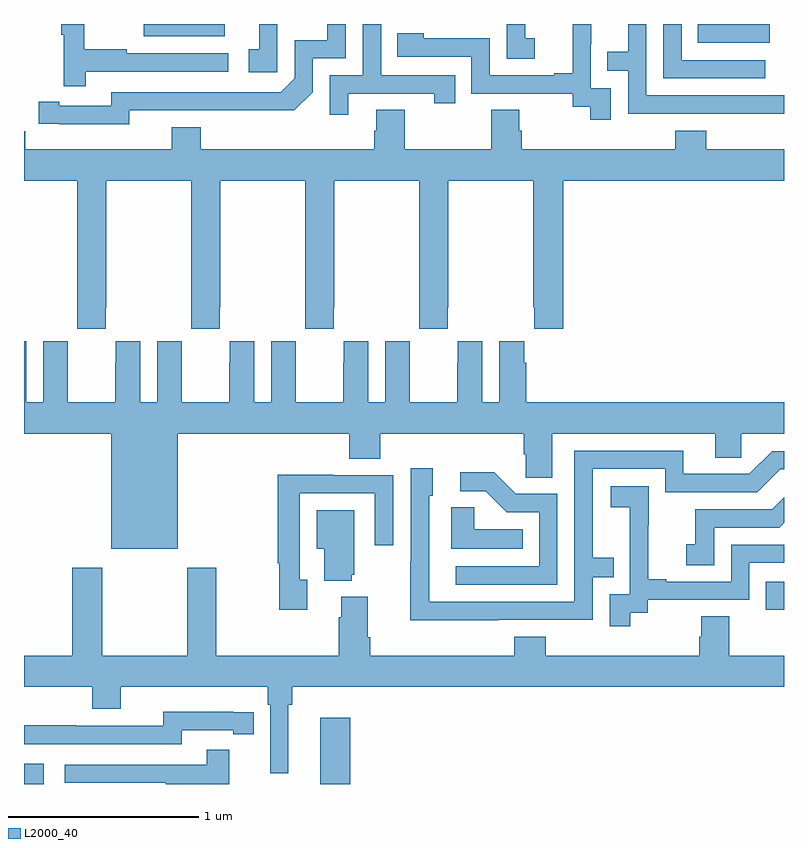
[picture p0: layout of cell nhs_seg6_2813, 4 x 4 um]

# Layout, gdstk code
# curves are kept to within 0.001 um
import gdstk
lib = gdstk.Library(unit=1e-6, precision=1e-09)
def R(c, l, rs):  # rectangles x0, y0, x1, y1
    for r in rs: c.add(gdstk.rectangle(r[:2], r[2:], *l))
def P(c, l, *ps):  # polygons
    for p in ps: c.add(gdstk.Polygon(p, *l))
L2000_40 = (2000, 40)

nhs_seg6_2813 = lib.new_cell('nhs_seg6_2813')
R(nhs_seg6_2813, L2000_40, [(277,937.5,277.105,937.606), (278.558,937.5,278.717,937.849), (280.903,938.418,281,938.565), (280.546,941.402,280.924,941.5), (277.629,941.435,278.056,941.5)])
P(nhs_seg6_2813, L2000_40, [(280.089,941.163),(279.984,941.163),(279.984,941.393),(279.986,941.393),(279.986,941.5),(279.887,941.5),(279.887,941.242),(279.791,941.242),(279.791,941.229),(279.45,941.229),(279.45,941.424),(279.105,941.424),(279.105,941.451),(278.965,941.451),(278.965,941.328),(279.354,941.328),(279.354,941.133),(279.888,941.133),(279.888,941.065),(279.981,941.065),(279.981,940.995),(280.089,940.995)],
  [(280.9,941.31),(280.461,941.31),(280.461,941.5),(280.365,941.5),(280.365,941.214),(280.9,941.214)],
  [(277.325,941.25),(278.074,941.25),(278.074,941.346),(277.541,941.346),(277.541,941.366),(277.318,941.366),(277.318,941.5),(277.197,941.5),(277.197,941.443),(277.208,941.443),(277.208,941.172),(277.325,941.172)],
  [(281,941.124),(280.275,941.124),(280.275,941.5),(280.179,941.5),(280.179,941.354),(280.069,941.354),(280.069,941.253),(280.179,941.253),(280.179,941.028),(280.675,941.028),(280.675,941.027),(281,941.027)],
  [(278.334,941.5),(278.237,941.5),(278.237,941.367),(278.184,941.367),(278.184,941.247),(278.334,941.247)],
  [(279.688,941.425),(279.639,941.425),(279.639,941.5),(279.54,941.5),(279.54,941.316),(279.688,941.316)],
  [(278.707,941.133),(279.158,941.133),(279.158,941.082),(279.269,941.082),(279.269,941.229),(278.88,941.229),(278.88,941.5),(278.784,941.5),(278.784,941.229),(278.61,941.229),(278.61,941.022),(278.707,941.022)],
  [(277.554,941.046),(278.422,941.045),(278.52,941.142),(278.52,941.319),(278.694,941.319),(278.694,941.5),(278.597,941.5),(278.597,941.415),(278.424,941.415),(278.424,941.214),(278.352,941.142),(277.458,941.142),(277.458,941.07),(277.186,941.07),(277.186,941.09),(277.078,941.09),(277.078,940.974),(277.554,940.973)],
  [(277.431,940.009),(277.434,940.009),(277.434,940.676),(277.879,940.676),(277.879,940.009),(277.881,940.009),(277.881,939.897),(278.031,939.897),(278.031,940.009),(278.034,940.009),(278.034,940.676),(278.479,940.676),(278.479,940.009),(278.481,940.009),(278.481,939.897),(278.631,939.897),(278.631,940.009),(278.634,940.009),(278.634,940.676),(279.079,940.676),(279.079,940.009),(279.081,940.009),(279.081,939.897),(279.231,939.897),(279.231,940.009),(279.234,940.009),(279.234,940.676),(279.679,940.676),(279.679,940.009),(279.685,940.009),(279.685,939.897),(279.839,939.897),(279.839,940.676),(281,940.676),(281,940.84),(280.592,940.84),(280.592,940.939),(280.427,940.939),(280.427,940.84),(279.62,940.84),(279.62,940.938),(279.607,940.938),(279.607,941.048),(279.46,941.048),(279.46,940.84),(279.003,940.84),(279.003,941.048),(278.855,941.048),(278.855,940.938),(278.843,940.938),(278.843,940.84),(277.931,940.84),(277.931,940.957),(277.778,940.957),(277.778,940.84),(277.007,940.84),(277.007,940.936),(277,940.936),(277,940.676),(277.279,940.676),(277.279,940.009),(277.281,940.009),(277.281,939.897),(277.431,939.897)],
  [(277.81,939.344),(278.711,939.344),(278.711,939.211),(278.876,939.211),(278.876,939.344),(279.629,939.344),(279.629,939.235),(279.642,939.235),(279.642,939.112),(279.781,939.112),(279.781,939.344),(280.637,939.344),(280.637,939.217),(280.776,939.217),(280.776,939.344),(281,939.344),(281,939.508),(279.644,939.508),(279.644,939.716),(279.634,939.716),(279.634,939.829),(279.5,939.829),(279.5,939.508),(279.412,939.508),(279.412,939.829),(279.282,939.829),(279.282,939.716),(279.281,939.716),(279.281,939.508),(279.031,939.508),(279.031,939.716),(279.03,939.716),(279.03,939.829),(278.9,939.829),(278.9,939.508),(278.812,939.508),(278.812,939.829),(278.682,939.829),(278.682,939.716),(278.681,939.716),(278.681,939.508),(278.431,939.508),(278.431,939.716),(278.43,939.716),(278.43,939.829),(278.3,939.829),(278.3,939.508),(278.212,939.508),(278.212,939.829),(278.082,939.829),(278.082,939.716),(278.081,939.716),(278.081,939.508),(277.831,939.508),(277.831,939.716),(277.83,939.716),(277.83,939.829),(277.7,939.829),(277.7,939.508),(277.612,939.508),(277.612,939.829),(277.482,939.829),(277.482,939.716),(277.481,939.716),(277.481,939.508),(277.231,939.508),(277.231,939.716),(277.23,939.716),(277.23,939.829),(277.1,939.829),(277.1,939.508),(277.012,939.508),(277.012,939.829),(277,939.829),(277,939.344),(277.46,939.344),(277.46,938.738),(277.81,938.738)],
  [(279.497,938.364),(279.993,938.364),(279.993,938.589),(280.103,938.589),(280.103,938.69),(279.993,938.69),(279.993,939.159),(280.374,939.159),(280.374,939.036),(280.86,939.036),(280.98,939.156),(281,939.156),(281,939.252),(280.938,939.252),(280.818,939.132),(280.471,939.132),(280.471,939.255),(279.897,939.255),(279.897,938.46),(279.132,938.46),(279.132,939.018),(279.151,939.018),(279.151,939.163),(279.036,939.163),(279.036,938.669),(279.034,938.669),(279.034,938.363)],
  [(279.807,939.027),(279.588,939.027),(279.475,939.14),(279.297,939.14),(279.297,939.042),(279.431,939.042),(279.542,938.931),(279.711,938.931),(279.711,938.646),(279.273,938.646),(279.273,938.55),(279.807,938.55)],
  [(278.491,938.574),(278.451,938.574),(278.451,939.03),(278.847,939.03),(278.847,938.757),(278.943,938.757),(278.943,939.126),(278.627,939.126),(278.627,939.128),(278.335,939.128),(278.335,938.662),(278.343,938.662),(278.343,938.418),(278.491,938.418)],
  [(280.192,938.401),(280.284,938.401),(280.284,938.469),(280.818,938.469),(280.818,938.664),(281,938.664),(281,938.76),(280.722,938.76),(280.722,938.565),(280.381,938.565),(280.381,938.578),(280.286,938.578),(280.286,938.861),(280.287,938.861),(280.287,939.067),(280.089,939.067),(280.089,938.957),(280.187,938.957),(280.187,938.729),(280.188,938.729),(280.188,938.499),(280.083,938.499),(280.083,938.331),(280.192,938.331)],
  [(280.632,938.85),(280.974,938.85),(281,938.876),(281,939.009),(280.937,938.946),(280.534,938.946),(280.534,938.761),(280.485,938.761),(280.485,938.652),(280.632,938.652)],
  [(279.626,938.842),(279.369,938.842),(279.369,938.957),(279.248,938.957),(279.248,938.738),(279.626,938.738)],
  [(278.726,938.601),(278.737,938.601),(278.737,938.941),(278.54,938.941),(278.54,938.738),(278.579,938.738),(278.579,938.57),(278.726,938.57)],
  [(278.392,937.916),(278.411,937.916),(278.411,938.012),(281,938.012),(281,938.176),(280.713,938.176),(280.713,938.384),(280.565,938.384),(280.565,938.274),(280.553,938.274),(280.553,938.176),(279.746,938.176),(279.746,938.275),(279.581,938.275),(279.581,938.176),(278.822,938.176),(278.822,938.272),(278.809,938.272),(278.809,938.485),(278.669,938.485),(278.669,938.378),(278.657,938.378),(278.657,938.176),(278.013,938.176),(278.013,938.638),(277.858,938.638),(277.858,938.176),(277.413,938.176),(277.413,938.638),(277.253,938.638),(277.253,938.176),(277,938.176),(277,938.012),(277.358,938.012),(277.358,937.895),(277.51,937.895),(277.51,938.012),(278.282,938.012),(278.282,937.916),(278.295,937.916),(278.295,937.557),(278.392,937.557)],
  [(277.83,937.782),(278.102,937.782),(278.102,937.762),(278.21,937.762),(278.21,937.878),(278.102,937.878),(278.102,937.879),(277.734,937.879),(277.734,937.806),(277.274,937.806),(277.274,937.808),(277,937.808),(277,937.71),(277.83,937.71)],
  [(278.081,937.681),(277.963,937.681),(277.963,937.602),(277.215,937.602),(277.215,937.506),(277.747,937.506),(277.747,937.5),(278.081,937.5)])

lib.write_gds('nhs_seg6_2813.gds')
